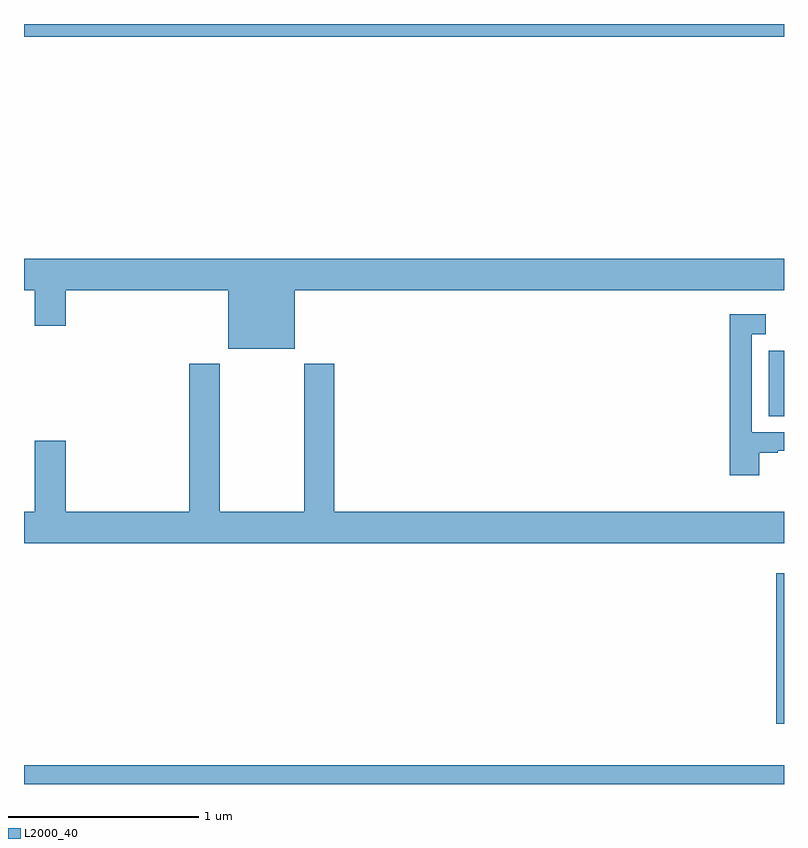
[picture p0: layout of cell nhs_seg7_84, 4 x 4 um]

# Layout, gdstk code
import gdstk
lib = gdstk.Library(unit=1e-6, precision=1e-09)
def R(c, l, rs):  # rectangles x0, y0, x1, y1
    for r in rs: c.add(gdstk.rectangle(r[:2], r[2:], *l))
def P(c, l, *ps):  # polygons
    for p in ps: c.add(gdstk.Polygon(p, *l))
L2000_40 = (2000, 40)

nhs_seg7_84 = lib.new_cell('nhs_seg7_84')
R(nhs_seg7_84, L2000_40, [(117,1014,121,1014.1), (120.96,1014.317,121,1015.108), (120.92,1015.936,121,1016.28), (117,1017.932,121,1018)])
P(nhs_seg7_84, L2000_40, [(118.426,1016.6),(121,1016.6),(121,1016.764),(117,1016.764),(117,1016.6),(117.056,1016.6),(117.056,1016.412),(117.22,1016.412),(117.22,1016.6),(118.076,1016.6),(118.076,1016.291),(118.426,1016.291)],
  [(120.871,1015.743),(120.967,1015.743),(120.967,1015.755),(121,1015.755),(121,1015.851),(120.831,1015.851),(120.831,1016.367),(120.904,1016.367),(120.904,1016.473),(120.715,1016.473),(120.715,1015.626),(120.871,1015.626)],
  [(121,1015.432),(118.634,1015.432),(118.634,1016.212),(118.474,1016.212),(118.474,1015.432),(118.029,1015.432),(118.029,1016.212),(117.869,1016.212),(117.869,1015.432),(117.22,1015.432),(117.22,1015.807),(117.056,1015.807),(117.056,1015.432),(117,1015.432),(117,1015.268),(121,1015.268)])

lib.write_gds('nhs_seg7_84.gds')
